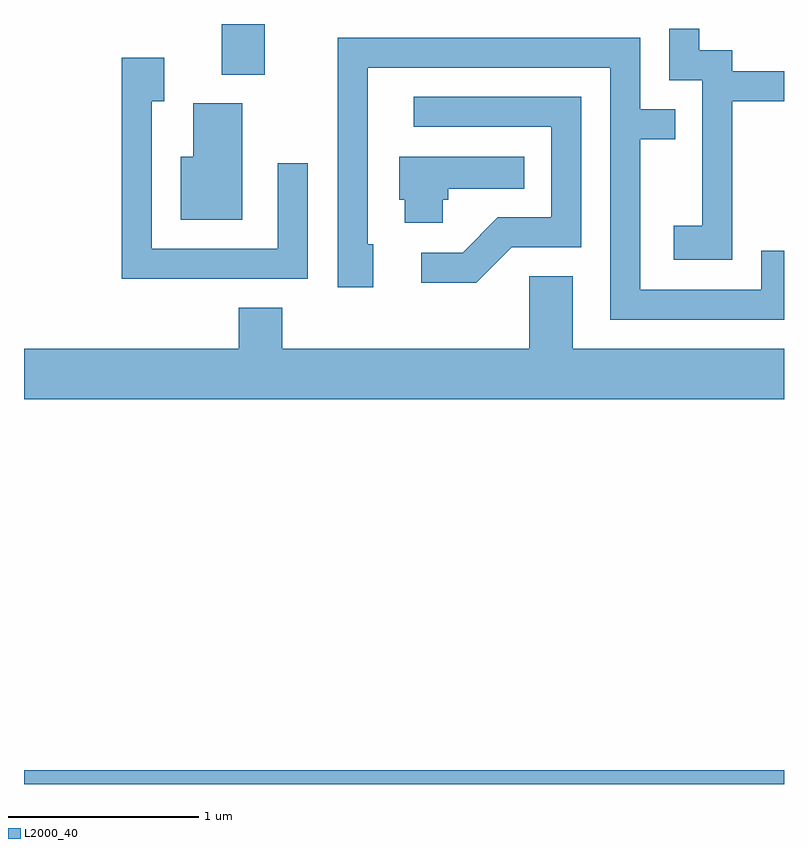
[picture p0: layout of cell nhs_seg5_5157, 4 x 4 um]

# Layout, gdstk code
import gdstk
lib = gdstk.Library(unit=1e-6, precision=1e-09)
def R(c, l, rs):  # rectangles x0, y0, x1, y1
    for r in rs: c.add(gdstk.rectangle(r[:2], r[2:], *l))
def P(c, l, *ps):  # polygons
    for p in ps: c.add(gdstk.Polygon(p, *l))
L2000_40 = (2000, 40)

nhs_seg5_5157 = lib.new_cell('nhs_seg5_5157')
R(nhs_seg5_5157, L2000_40, [(337.611,1488.072,341.611,1488.144), (338.651,1491.806,338.879,1492.072)])
P(nhs_seg5_5157, L2000_40, [(341.339,1491.666),(341.611,1491.666),(341.611,1491.824),(341.339,1491.824),(341.339,1491.934),(341.164,1491.934),(341.164,1492.048),(341.006,1492.048),(341.006,1491.776),(341.181,1491.776),(341.181,1491.009),(341.031,1491.009),(341.031,1490.831),(341.339,1490.831)],
  [(341.611,1490.879),(341.491,1490.879),(341.491,1490.674),(340.854,1490.674),(340.854,1491.466),(341.038,1491.466),(341.038,1491.624),(340.854,1491.624),(340.854,1491.999),(339.261,1491.999),(339.261,1490.686),(339.449,1490.686),(339.449,1490.914),(339.419,1490.914),(339.419,1491.841),(340.696,1491.841),(340.696,1490.516),(341.611,1490.516)],
  [(339.104,1491.338),(338.946,1491.338),(338.946,1490.889),(338.284,1490.889),(338.284,1491.666),(338.349,1491.666),(338.349,1491.894),(338.126,1491.894),(338.126,1490.731),(339.104,1490.731)],
  [(340.177,1490.896),(340.544,1490.896),(340.544,1491.689),(339.663,1491.689),(339.663,1491.531),(340.386,1491.531),(340.386,1491.054),(340.104,1491.054),(339.919,1490.869),(339.703,1490.869),(339.703,1490.711),(339.992,1490.711)],
  [(338.759,1491.654),(338.501,1491.654),(338.501,1491.374),(338.436,1491.374),(338.436,1491.041),(338.759,1491.041)],
  [(339.814,1491.146),(339.844,1491.146),(339.844,1491.206),(340.243,1491.206),(340.243,1491.374),(339.586,1491.374),(339.586,1491.146),(339.616,1491.146),(339.616,1491.026),(339.814,1491.026)],
  [(341.611,1490.364),(340.499,1490.364),(340.499,1490.744),(340.271,1490.744),(340.271,1490.364),(338.969,1490.364),(338.969,1490.579),(338.741,1490.579),(338.741,1490.364),(337.611,1490.364),(337.611,1490.096),(341.611,1490.096)])

lib.write_gds('nhs_seg5_5157.gds')
